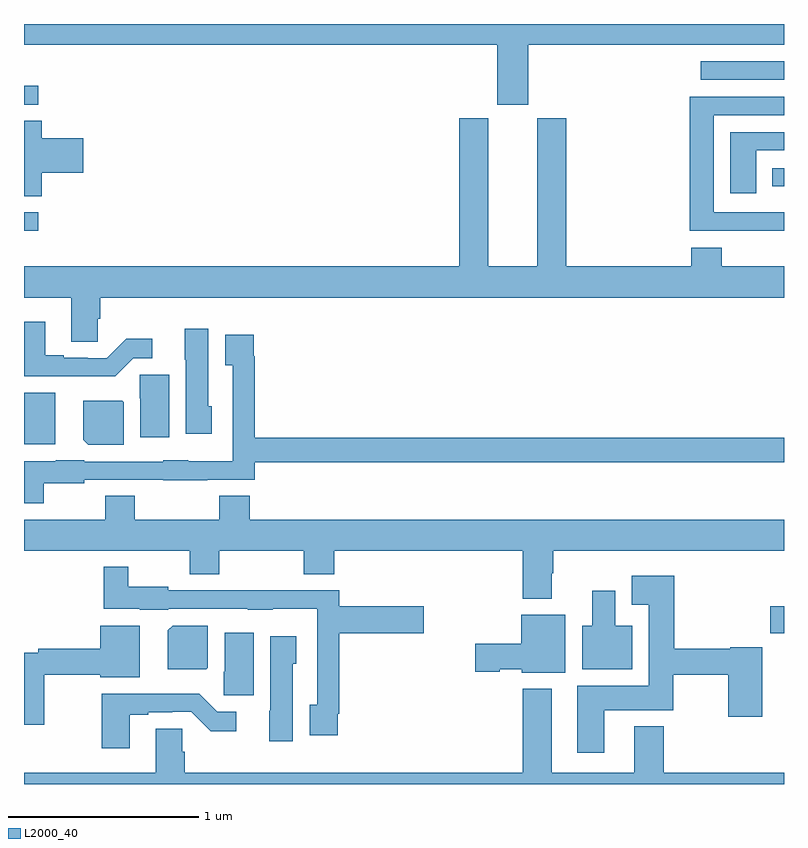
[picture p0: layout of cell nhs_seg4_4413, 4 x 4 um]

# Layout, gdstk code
import gdstk
lib = gdstk.Library(unit=1e-6, precision=1e-09)
def R(c, l, rs):  # rectangles x0, y0, x1, y1
    for r in rs: c.add(gdstk.rectangle(r[:2], r[2:], *l))
def P(c, l, *ps):  # polygons
    for p in ps: c.add(gdstk.Polygon(p, *l))
L2000_40 = (2000, 40)

nhs_seg4_4413 = lib.new_cell('nhs_seg4_4413')
R(nhs_seg4_4413, L2000_40, [(350.928,821.693,351,821.835), (347,822.689,347.164,822.958), (347,823.812,347.074,823.908), (350.939,824.046,351,824.142), (347,824.475,347.074,824.574), (350.562,824.607,351,824.703)])
P(nhs_seg4_4413, L2000_40, [(349.654,824.792),(351,824.792),(351,824.9),(347,824.9),(347,824.792),(349.49,824.792),(349.49,824.475),(349.654,824.475)],
  [(351,823.909),(350.95,823.909),(350.95,823.908),(350.629,823.908),(350.629,824.421),(351,824.421),(351,824.517),(350.504,824.517),(350.504,823.811),(351,823.811)],
  [(347.388,823.35),(347.402,823.35),(347.402,823.46),(351,823.46),(351,823.624),(350.673,823.624),(350.673,823.723),(350.513,823.723),(350.513,823.624),(349.853,823.624),(349.853,824.403),(349.7,824.403),(349.7,823.624),(349.444,823.624),(349.444,824.403),(349.292,824.403),(349.292,823.624),(347,823.624),(347,823.46),(347.249,823.46),(347.249,823.228),(347.388,823.228)],
  [(347.093,824.117),(347.311,824.117),(347.311,824.3),(347.093,824.3),(347.093,824.39),(347,824.39),(347,823.993),(347.093,823.993)],
  [(350.854,824.235),(351,824.235),(351,824.331),(350.717,824.331),(350.717,824.01),(350.854,824.01)],
  [(347.574,823.14),(347.674,823.14),(347.674,823.243),(347.539,823.243),(347.436,823.14),(347.336,823.14),(347.336,823.143),(347.209,823.143),(347.209,823.156),(347.113,823.156),(347.113,823.333),(347,823.333),(347,823.046),(347.479,823.046)],
  [(347.989,822.888),(347.971,822.888),(347.971,823.297),(347.846,823.297),(347.846,823.134),(347.852,823.134),(347.852,822.744),(347.989,822.744)],
  [(347.104,822.482),(347.316,822.482),(347.316,822.501),(347.733,822.501),(347.733,822.5),(347.965,822.5),(347.965,822.501),(348.215,822.501),(348.215,822.594),(351,822.594),(351,822.722),(348.215,822.722),(348.215,823.151),(348.208,823.151),(348.208,823.264),(348.059,823.264),(348.059,823.103),(348.099,823.103),(348.099,822.598),(347.865,822.598),(347.865,822.604),(347.733,822.604),(347.733,822.597),(347.316,822.597),(347.316,822.604),(347.166,822.604),(347.166,822.598),(347,822.598),(347,822.377),(347.104,822.377)],
  [(347.764,823.053),(347.608,823.053),(347.608,822.93),(347.612,822.93),(347.612,822.726),(347.764,822.726)],
  [(347.524,822.908),(347.516,822.916),(347.312,822.916),(347.312,822.712),(347.338,822.686),(347.524,822.686)],
  [(349.777,822.008),(349.785,822.008),(349.785,822.128),(351,822.128),(351,822.292),(348.188,822.292),(348.188,822.416),(348.028,822.416),(348.028,822.292),(347.583,822.292),(347.583,822.416),(347.428,822.416),(347.428,822.292),(347,822.292),(347,822.128),(347.872,822.128),(347.872,822.004),(348.027,822.004),(348.027,822.128),(348.472,822.128),(348.472,822.004),(348.632,822.004),(348.632,822.128),(349.625,822.128),(349.625,821.876),(349.777,821.876)],
  [(348.652,821.269),(348.659,821.269),(348.659,821.693),(349.105,821.693),(349.105,821.835),(348.659,821.835),(348.659,821.919),(348.409,821.919),(348.409,821.921),(348.177,821.921),(348.177,821.919),(347.76,821.919),(347.76,821.938),(347.548,821.938),(347.548,822.043),(347.419,822.043),(347.419,821.822),(347.61,821.822),(347.61,821.816),(347.76,821.816),(347.76,821.823),(348.177,821.823),(348.177,821.816),(348.309,821.816),(348.309,821.822),(348.543,821.822),(348.543,821.318),(348.503,821.318),(348.503,821.157),(348.652,821.157)],
  [(350.053,821.288),(350.418,821.288),(350.418,821.476),(350.707,821.476),(350.707,821.253),(350.885,821.253),(350.885,821.62),(350.718,821.62),(350.718,821.612),(350.423,821.612),(350.423,821.995),(350.198,821.995),(350.198,821.843),(350.288,821.843),(350.288,821.416),(349.913,821.416),(349.913,821.064),(350.053,821.064)],
  [(350.2,821.734),(350.113,821.734),(350.113,821.917),(349.991,821.917),(349.991,821.734),(349.937,821.734),(349.937,821.504),(350.2,821.504)],
  [(349.849,821.791),(349.616,821.791),(349.616,821.639),(349.374,821.639),(349.374,821.492),(349.503,821.492),(349.503,821.504),(349.62,821.504),(349.62,821.486),(349.849,821.486)],
  [(347.968,821.512),(347.968,821.734),(347.782,821.734),(347.756,821.708),(347.756,821.504),(347.96,821.504)],
  [(347.106,821.476),(347.402,821.476),(347.402,821.462),(347.608,821.462),(347.608,821.734),(347.402,821.734),(347.402,821.612),(347.074,821.612),(347.074,821.592),(347,821.592),(347,821.211),(347.106,821.211)],
  [(348.208,821.695),(348.056,821.695),(348.056,821.49),(348.052,821.49),(348.052,821.367),(348.208,821.367)],
  [(348.415,821.532),(348.433,821.532),(348.433,821.677),(348.296,821.677),(348.296,821.286),(348.29,821.286),(348.29,821.124),(348.415,821.124)],
  [(351,820.96),(350.366,820.96),(350.366,821.203),(350.213,821.203),(350.213,820.96),(349.777,820.96),(349.777,821.401),(349.625,821.401),(349.625,820.96),(347.846,820.96),(347.846,821.07),(347.832,821.07),(347.832,821.192),(347.693,821.192),(347.693,820.96),(347,820.96),(347,820.9),(351,820.9)],
  [(347.557,821.265),(347.653,821.265),(347.653,821.277),(347.78,821.277),(347.78,821.28),(347.88,821.28),(347.983,821.178),(348.118,821.178),(348.118,821.28),(348.018,821.28),(347.923,821.375),(347.41,821.375),(347.41,821.088),(347.557,821.088)])

lib.write_gds('nhs_seg4_4413.gds')
